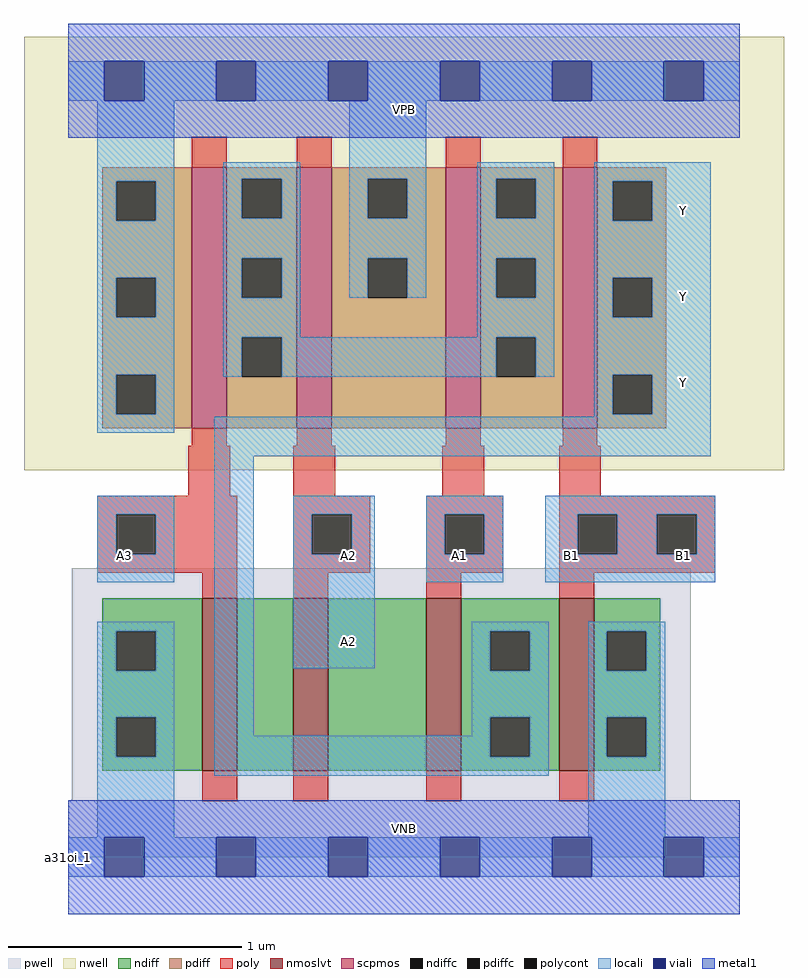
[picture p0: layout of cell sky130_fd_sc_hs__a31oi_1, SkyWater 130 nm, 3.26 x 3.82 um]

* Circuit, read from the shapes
.subckt sky130_fd_sc_hs__a31oi_1 A1 A2 A3 B1 VGND VNB VPB VPWR Y
XM1 n1 A3 VGND VNB sky130_fd_pr__nfet_01v8_lvt w=0.74 l=0.15
XM2 n2 A2 n1 VNB sky130_fd_pr__nfet_01v8_lvt w=0.74 l=0.15
XM3 Y A1 n2 VNB sky130_fd_pr__nfet_01v8_lvt w=0.74 l=0.15
XM4 VGND B1 Y VNB sky130_fd_pr__nfet_01v8_lvt w=0.74 l=0.15
XM5 n3 A3 VPWR VPB sky130_fd_pr__pfet_01v8 w=1.12 l=0.15
XM6 VPWR A2 n3 VPB sky130_fd_pr__pfet_01v8 w=1.12 l=0.15
XM7 n3 A1 VPWR VPB sky130_fd_pr__pfet_01v8 w=1.12 l=0.15
XM8 Y B1 n3 VPB sky130_fd_pr__pfet_01v8 w=1.12 l=0.15
.ends

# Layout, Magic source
magic
tech sky130A
magscale 1 2
<< nwell >>
rect -38 332 614 704
<< pwell >>
rect 3 49 534 248
rect 0 0 576 49
<< scpmos >>
rect 106 368 136 592
rect 196 368 226 592
rect 324 368 354 592
rect 424 368 454 592
<< nmoslvt >>
rect 115 74 145 222
rect 193 74 223 222
rect 307 74 337 222
rect 421 74 451 222
<< ndiff >>
rect 29 194 115 222
rect 29 160 41 194
rect 75 160 115 194
rect 29 120 115 160
rect 29 86 41 120
rect 75 86 115 120
rect 29 74 115 86
rect 145 74 193 222
rect 223 74 307 222
rect 337 194 421 222
rect 337 160 362 194
rect 396 160 421 194
rect 337 120 421 160
rect 337 86 362 120
rect 396 86 421 120
rect 337 74 421 86
rect 451 194 508 222
rect 451 160 462 194
rect 496 160 508 194
rect 451 120 508 160
rect 451 86 462 120
rect 496 86 508 120
rect 451 74 508 86
<< pdiff >>
rect 29 580 106 592
rect 29 546 41 580
rect 75 546 106 580
rect 29 497 106 546
rect 29 463 41 497
rect 75 463 106 497
rect 29 414 106 463
rect 29 380 41 414
rect 75 380 106 414
rect 29 368 106 380
rect 136 582 196 592
rect 136 548 149 582
rect 183 548 196 582
rect 136 514 196 548
rect 136 480 149 514
rect 183 480 196 514
rect 136 446 196 480
rect 136 412 149 446
rect 183 412 196 446
rect 136 368 196 412
rect 226 582 324 592
rect 226 548 257 582
rect 291 548 324 582
rect 226 514 324 548
rect 226 480 257 514
rect 291 480 324 514
rect 226 368 324 480
rect 354 582 424 592
rect 354 548 367 582
rect 401 548 424 582
rect 354 514 424 548
rect 354 480 367 514
rect 401 480 424 514
rect 354 446 424 480
rect 354 412 367 446
rect 401 412 424 446
rect 354 368 424 412
rect 454 580 513 592
rect 454 546 467 580
rect 501 546 513 580
rect 454 497 513 546
rect 454 463 467 497
rect 501 463 513 497
rect 454 414 513 463
rect 454 380 467 414
rect 501 380 513 414
rect 454 368 513 380
<< ndiffc >>
rect 41 160 75 194
rect 41 86 75 120
rect 362 160 396 194
rect 362 86 396 120
rect 462 160 496 194
rect 462 86 496 120
<< pdiffc >>
rect 41 546 75 580
rect 41 463 75 497
rect 41 380 75 414
rect 149 548 183 582
rect 149 480 183 514
rect 149 412 183 446
rect 257 548 291 582
rect 257 480 291 514
rect 367 548 401 582
rect 367 480 401 514
rect 367 412 401 446
rect 467 546 501 580
rect 467 463 501 497
rect 467 380 501 414
<< poly >>
rect 106 592 136 618
rect 196 592 226 618
rect 324 592 354 618
rect 424 592 454 618
rect 106 353 136 368
rect 196 353 226 368
rect 324 353 354 368
rect 424 353 454 368
rect 103 310 139 353
rect 193 310 229 353
rect 321 310 357 353
rect 421 310 457 353
rect 25 294 145 310
rect 25 260 41 294
rect 75 260 145 294
rect 25 244 145 260
rect 115 222 145 244
rect 193 294 259 310
rect 193 260 209 294
rect 243 260 259 294
rect 193 244 259 260
rect 307 294 373 310
rect 307 260 323 294
rect 357 260 373 294
rect 307 244 373 260
rect 421 294 555 310
rect 421 260 437 294
rect 471 260 505 294
rect 539 260 555 294
rect 421 244 555 260
rect 193 222 223 244
rect 307 222 337 244
rect 421 222 451 244
rect 115 48 145 74
rect 193 48 223 74
rect 307 48 337 74
rect 421 48 451 74
<< polycont >>
rect 41 260 75 294
rect 209 260 243 294
rect 323 260 357 294
rect 437 260 471 294
rect 505 260 539 294
<< locali >>
rect 0 649 31 683
rect 65 649 127 683
rect 161 649 223 683
rect 257 649 319 683
rect 353 649 415 683
rect 449 649 511 683
rect 545 649 576 683
rect 25 580 91 649
rect 25 546 41 580
rect 75 546 91 580
rect 25 497 91 546
rect 25 463 41 497
rect 75 463 91 497
rect 25 414 91 463
rect 25 380 41 414
rect 75 380 91 414
rect 133 582 199 596
rect 133 548 149 582
rect 183 548 199 582
rect 133 514 199 548
rect 133 480 149 514
rect 183 480 199 514
rect 241 582 307 649
rect 241 548 257 582
rect 291 548 307 582
rect 241 514 307 548
rect 241 480 257 514
rect 291 480 307 514
rect 351 582 417 596
rect 351 548 367 582
rect 401 548 417 582
rect 351 514 417 548
rect 351 480 367 514
rect 401 480 417 514
rect 133 446 199 480
rect 351 446 417 480
rect 133 412 149 446
rect 183 412 367 446
rect 401 412 417 446
rect 451 580 551 596
rect 451 546 467 580
rect 501 546 551 580
rect 451 497 551 546
rect 451 463 467 497
rect 501 463 551 497
rect 451 414 551 463
rect 25 364 91 380
rect 451 380 467 414
rect 501 380 551 414
rect 451 378 551 380
rect 125 344 551 378
rect 25 294 91 310
rect 25 260 41 294
rect 75 260 91 294
rect 25 236 91 260
rect 25 194 91 202
rect 25 160 41 194
rect 75 160 91 194
rect 25 120 91 160
rect 25 86 41 120
rect 75 86 91 120
rect 25 17 91 86
rect 125 104 159 344
rect 193 294 263 310
rect 193 260 209 294
rect 243 260 263 294
rect 193 162 263 260
rect 307 294 373 310
rect 307 260 323 294
rect 357 260 373 294
rect 307 236 373 260
rect 409 294 555 310
rect 409 260 437 294
rect 471 260 505 294
rect 539 260 555 294
rect 409 236 555 260
rect 346 194 412 202
rect 346 160 362 194
rect 396 160 412 194
rect 346 120 412 160
rect 346 104 362 120
rect 125 86 362 104
rect 396 86 412 120
rect 125 70 412 86
rect 446 194 512 202
rect 446 160 462 194
rect 496 160 512 194
rect 446 120 512 160
rect 446 86 462 120
rect 496 86 512 120
rect 446 17 512 86
rect 0 -17 31 17
rect 65 -17 127 17
rect 161 -17 223 17
rect 257 -17 319 17
rect 353 -17 415 17
rect 449 -17 511 17
rect 545 -17 576 17
<< viali >>
rect 31 649 65 683
rect 127 649 161 683
rect 223 649 257 683
rect 319 649 353 683
rect 415 649 449 683
rect 511 649 545 683
rect 31 -17 65 17
rect 127 -17 161 17
rect 223 -17 257 17
rect 319 -17 353 17
rect 415 -17 449 17
rect 511 -17 545 17
<< metal1 >>
rect 0 683 576 715
rect 0 649 31 683
rect 65 649 127 683
rect 161 649 223 683
rect 257 649 319 683
rect 353 649 415 683
rect 449 649 511 683
rect 545 649 576 683
rect 0 617 576 649
rect 0 17 576 49
rect 0 -17 31 17
rect 65 -17 127 17
rect 161 -17 223 17
rect 257 -17 319 17
rect 353 -17 415 17
rect 449 -17 511 17
rect 545 -17 576 17
rect 0 -49 576 -17
<< labels >>
rlabel comment s 0 0 0 0 4 a31oi_1
flabel pwell s 0 0 576 49 0 FreeSans 200 0 0 0 VNB
port 6 nsew ground bidirectional
flabel nwell s 0 617 576 666 0 FreeSans 200 0 0 0 VPB
port 7 nsew power bidirectional
flabel metal1 s 0 617 576 666 0 FreeSans 340 0 0 0 VPWR
port 8 nsew power bidirectional
flabel metal1 s 0 0 576 49 0 FreeSans 340 0 0 0 VGND
port 5 nsew ground bidirectional
flabel locali s 511 390 545 424 0 FreeSans 340 0 0 0 Y
port 9 nsew signal output
flabel locali s 511 464 545 498 0 FreeSans 340 0 0 0 Y
port 9 nsew signal output
flabel locali s 511 538 545 572 0 FreeSans 340 0 0 0 Y
port 9 nsew signal output
flabel locali s 31 242 65 276 0 FreeSans 340 0 0 0 A3
port 3 nsew signal input
flabel locali s 415 242 449 276 0 FreeSans 340 0 0 0 B1
port 4 nsew signal input
flabel locali s 511 242 545 276 0 FreeSans 340 0 0 0 B1
port 4 nsew signal input
flabel locali s 223 168 257 202 0 FreeSans 340 0 0 0 A2
port 2 nsew signal input
flabel locali s 223 242 257 276 0 FreeSans 340 0 0 0 A2
port 2 nsew signal input
flabel locali s 319 242 353 276 0 FreeSans 340 0 0 0 A1
port 1 nsew signal input
<< properties >>
string LEFsite unit
string LEFclass CORE
string FIXED_BBOX 0 0 576 666
string GDS_FILE $PDKPATH/libs.ref/sky130_fd_sc_hs/gds/sky130_fd_sc_hs.gds
string LEFsymmetry X Y
string GDS_END 1374104
string GDS_START 1368028
<< end >>
